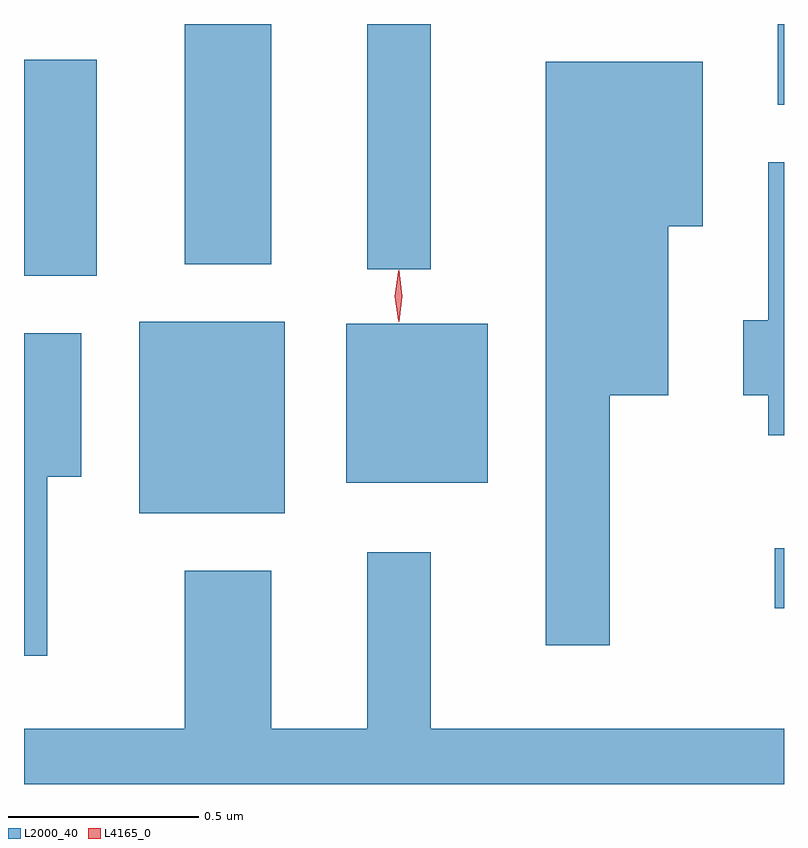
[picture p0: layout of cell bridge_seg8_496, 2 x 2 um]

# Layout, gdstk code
import gdstk
lib = gdstk.Library(unit=1e-6, precision=1e-09)
def R(c, l, rs):  # rectangles x0, y0, x1, y1
    for r in rs: c.add(gdstk.rectangle(r[:2], r[2:], *l))
def P(c, l, *ps):  # polygons
    for p in ps: c.add(gdstk.Polygon(p, *l))
L2000_40 = (2000, 40)
L4165_0 = (4165, 0)

bridge_seg8_496 = lib.new_cell('bridge_seg8_496')
R(bridge_seg8_496, L2000_40, [(229.743,1876.961,229.768,1877.119), (228.071,1877.211,228.454,1877.714), (228.616,1877.291,228.989,1877.709), (227.768,1877.836,227.959,1878.404), (228.671,1877.853,228.839,1878.498), (228.191,1877.866,228.419,1878.498), (229.751,1878.286,229.768,1878.498)])
P(bridge_seg8_496, L2000_40, [(229.309,1877.521),(229.464,1877.521),(229.464,1877.966),(229.554,1877.966),(229.554,1878.399),(229.141,1878.399),(229.141,1876.863),(229.309,1876.863)],
  [(229.768,1878.134),(229.726,1878.134),(229.726,1877.719),(229.661,1877.719),(229.661,1877.521),(229.726,1877.521),(229.726,1877.416),(229.768,1877.416)],
  [(227.829,1877.306),(227.919,1877.306),(227.919,1877.684),(227.768,1877.684),(227.768,1876.836),(227.829,1876.836)],
  [(229.768,1876.644),(228.839,1876.644),(228.839,1877.108),(228.671,1877.108),(228.671,1876.644),(228.419,1876.644),(228.419,1877.059),(228.191,1877.059),(228.191,1876.644),(227.768,1876.644),(227.768,1876.498),(229.768,1876.498)])
P(bridge_seg8_496, L4165_0, [(228.754,1877.714),(228.754,1877.714),(228.744,1877.782),(228.754,1877.85),(228.754,1877.85),(228.755,1877.85),(228.764,1877.782),(228.755,1877.714)],
  [(228.753,1877.718),(228.753,1877.718),(228.744,1877.782),(228.753,1877.846),(228.753,1877.847),(228.754,1877.846),(228.763,1877.782),(228.754,1877.718)])

lib.write_gds('bridge_seg8_496.gds')
